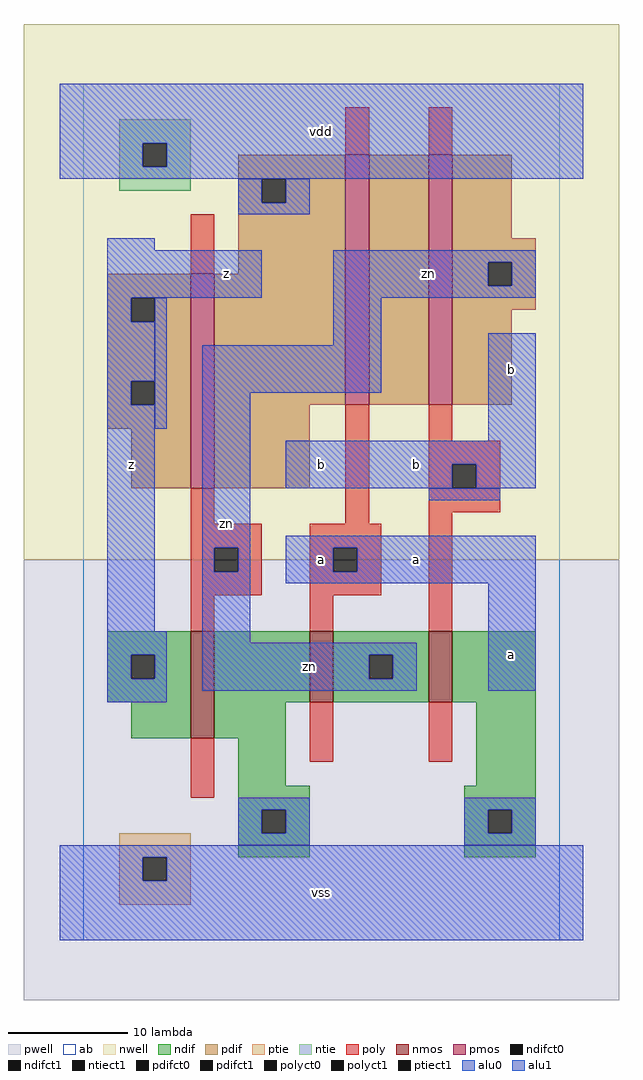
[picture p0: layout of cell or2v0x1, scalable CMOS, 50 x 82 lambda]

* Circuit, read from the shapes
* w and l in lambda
.subckt or2v0x1 a b vdd vss z zn
M1 vss zn z vss nfet w=9 l=2
M2 zn a vss vss nfet w=6 l=2
M3 vss b zn vss nfet w=6 l=2
M4 vdd zn z vdd pfet w=18 l=2
M5 n1 a vdd vdd pfet w=21 l=2
M6 zn b n1 vdd pfet w=21 l=2
.ends

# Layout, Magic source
magic
tech scmos
<< ab >>
rect 0 0 40 72
<< nwell >>
rect -5 32 45 77
<< pwell >>
rect -5 -5 45 32
<< poly >>
rect 22 66 24 70
rect 29 66 31 70
rect 9 56 11 61
rect 9 35 11 38
rect 22 35 24 45
rect 29 42 31 45
rect 29 40 35 42
rect 29 38 31 40
rect 33 38 35 40
rect 29 36 35 38
rect 9 33 15 35
rect 9 31 11 33
rect 13 31 15 33
rect 9 29 15 31
rect 19 33 25 35
rect 19 31 21 33
rect 23 31 25 33
rect 19 29 25 31
rect 9 26 11 29
rect 19 26 21 29
rect 29 26 31 36
rect 9 12 11 17
rect 19 15 21 20
rect 29 15 31 20
<< ndif >>
rect 2 24 9 26
rect 2 22 4 24
rect 6 22 9 24
rect 2 20 9 22
rect 4 17 9 20
rect 11 20 19 26
rect 21 24 29 26
rect 21 22 24 24
rect 26 22 29 24
rect 21 20 29 22
rect 31 20 38 26
rect 11 17 17 20
rect 13 13 17 17
rect 33 13 38 20
rect 13 11 19 13
rect 13 9 15 11
rect 17 9 19 11
rect 13 7 19 9
rect 32 11 38 13
rect 32 9 34 11
rect 36 9 38 11
rect 32 7 38 9
<< pdif >>
rect 13 64 22 66
rect 13 62 15 64
rect 17 62 22 64
rect 13 56 22 62
rect 2 54 9 56
rect 2 52 4 54
rect 6 52 9 54
rect 2 47 9 52
rect 2 45 4 47
rect 6 45 9 47
rect 2 43 9 45
rect 4 38 9 43
rect 11 45 22 56
rect 24 45 29 66
rect 31 59 36 66
rect 31 57 38 59
rect 31 55 34 57
rect 36 55 38 57
rect 31 53 38 55
rect 31 45 36 53
rect 11 38 19 45
<< alu1 >>
rect -2 67 42 72
rect -2 65 5 67
rect 7 65 42 67
rect -2 64 42 65
rect 2 58 6 59
rect 2 54 15 58
rect 2 52 4 54
rect 2 47 6 52
rect 2 45 4 47
rect 2 26 6 45
rect 34 42 38 51
rect 17 40 38 42
rect 17 38 31 40
rect 33 38 38 40
rect 2 24 7 26
rect 2 22 4 24
rect 6 22 7 24
rect 2 20 7 22
rect 17 33 38 34
rect 17 31 21 33
rect 23 31 38 33
rect 17 30 38 31
rect 34 21 38 30
rect -2 7 42 8
rect -2 5 5 7
rect 7 5 42 7
rect -2 0 42 5
<< ptie >>
rect 3 7 9 9
rect 3 5 5 7
rect 7 5 9 7
rect 3 3 9 5
<< ntie >>
rect 3 67 9 69
rect 3 65 5 67
rect 7 65 9 67
rect 3 63 9 65
<< nmos >>
rect 9 17 11 26
rect 19 20 21 26
rect 29 20 31 26
<< pmos >>
rect 9 38 11 56
rect 22 45 24 66
rect 29 45 31 66
<< polyct0 >>
rect 11 31 13 33
<< polyct1 >>
rect 31 38 33 40
rect 21 31 23 33
<< ndifct0 >>
rect 24 22 26 24
rect 15 9 17 11
rect 34 9 36 11
<< ndifct1 >>
rect 4 22 6 24
<< ntiect1 >>
rect 5 65 7 67
<< ptiect1 >>
rect 5 5 7 7
<< pdifct0 >>
rect 15 62 17 64
rect 34 55 36 57
<< pdifct1 >>
rect 4 52 6 54
rect 4 45 6 47
<< alu0 >>
rect 13 62 15 64
rect 17 62 19 64
rect 13 61 19 62
rect 21 57 38 58
rect 21 55 34 57
rect 36 55 38 57
rect 21 54 38 55
rect 6 43 7 54
rect 21 50 25 54
rect 10 46 25 50
rect 10 33 14 46
rect 29 37 35 38
rect 10 31 11 33
rect 13 31 14 33
rect 10 25 14 31
rect 10 24 28 25
rect 10 22 24 24
rect 26 22 28 24
rect 10 21 28 22
rect 13 11 19 12
rect 13 9 15 11
rect 17 9 19 11
rect 13 8 19 9
rect 32 11 38 12
rect 32 9 34 11
rect 36 9 38 11
rect 32 8 38 9
<< labels >>
rlabel alu0 12 35 12 35 6 zn
rlabel alu0 19 23 19 23 6 zn
rlabel alu0 29 56 29 56 6 zn
rlabel alu1 4 40 4 40 6 z
rlabel alu1 12 56 12 56 6 z
rlabel alu1 20 4 20 4 6 vss
rlabel alu1 20 32 20 32 6 a
rlabel alu1 28 32 28 32 6 a
rlabel alu1 28 40 28 40 6 b
rlabel alu1 20 40 20 40 6 b
rlabel alu1 20 68 20 68 6 vdd
rlabel alu1 36 24 36 24 6 a
rlabel alu1 36 48 36 48 6 b
<< end >>
